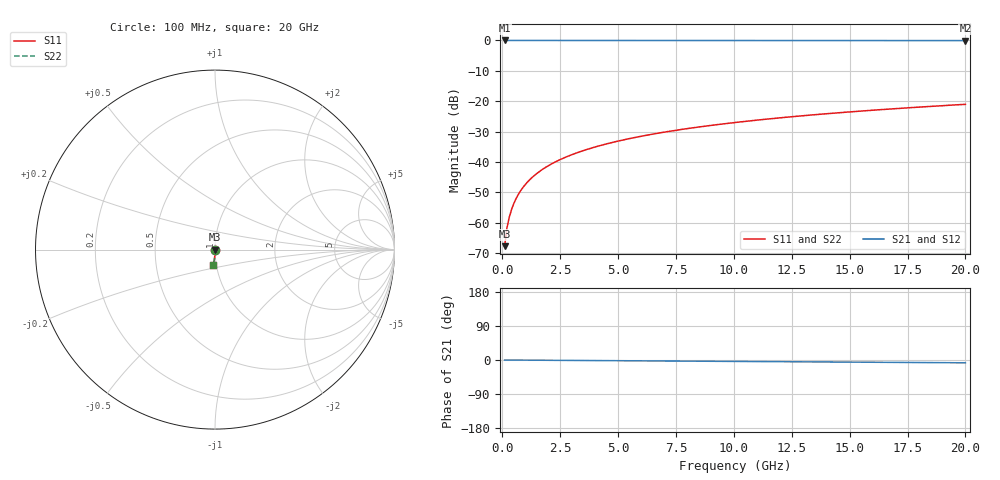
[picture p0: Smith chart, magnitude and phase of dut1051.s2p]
! Touchstone file exported from HFSS 2026.1.0
!  File:  C:/ffzhzh/LocalFiles/Ansys_Project_Files/temp_train_TSV_1051_1783189495_18472.aedt
!  Generated:  02:26:04 AM Jul  5, 2026
!  Design:  TSV
!  Project:  temp_train_TSV_1051_1783189495_18472
! Variables:
!  h_bsmrdl = 2um
!  h_ox = 20um
!  h_rdl = 5um
!  h_sub = 56.63um
!  h_tmrdl = 5um
!  h_tsv = 56.63um
!  h_via = 3um
!  l_bsmrdl = 300um
!  l_sub = 424.96um
!  l_tmrdl = 200um
!  m_sub = 200um
!  pitch = 29.1um
!  r_tsv = 12.48um
!  s_tmrdl = 10um
!  w_bsmrdl = 18um
!  w_sub = 500um
!  w_tmrdl = 12um
!  x_tsv_center1 = 206um
!  x_tsv_center2 = 524um
!  x_tsv_center3 = 736um
!  x_tsv_center4 = 1054um
!  x_tsv_center5 = 1266um
!  x_tsv_center6 = 1584um
# GHz S MA R 50.000000
! Terminal data exported
! Port[1] = TSV1_1_T1
! Port[2] = TSV1_1_T2
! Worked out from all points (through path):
!   200 points, 100 MHz to 20 GHz, reference 50 ohm
!   highest |S21| = 0.00 dB at 100 MHz (marker M1); lowest = 0.0 dB at 20 GHz (marker M2)
!   group delay of S21, straight-line fit = 1.03 ps
!   lowest |S11| = -67.8 dB at 100 MHz (marker M3), VSWR 1.00, Z = 50 - j0.0399 ohm
!   |S11| at or under -10 dB: start of sweep to end of sweep
!   |S22| runs from -67.8 to -21.0 dB; largest |S21 - S12| = 3.2e-14
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0.1  0.0004083 -77.9  0.9999 -0.0  0.9999 -0.0  0.0004083 -77.9
! Gamma 0 0 0 0
! Port Impedance 50 0 50 0
0.2  0.0008096 -82.9  0.9999 -0.1  0.9999 -0.1  0.0008096 -82.9
0.3  0.001221 -84.3  0.9999 -0.1  0.9999 -0.1  0.001221 -84.3
0.4  0.001642 -84.9  0.9998 -0.2  0.9998 -0.2  0.001642 -84.9
0.5  0.00207 -85.3  0.9998 -0.2  0.9998 -0.2  0.00207 -85.3
0.7  0.00294 -85.9  0.9998 -0.3  0.9998 -0.3  0.00294 -85.9
0.8  0.00338 -86.2  0.9998 -0.3  0.9998 -0.3  0.00338 -86.2
1  0.004263 -86.7  0.9997 -0.4  0.9997 -0.4  0.004263 -86.7
1.2  0.005148 -87.1  0.9997 -0.5  0.9997 -0.5  0.005148 -87.1
1.4  0.006033 -87.5  0.9997 -0.5  0.9997 -0.5  0.006033 -87.5
1.7  0.007361 -88.0  0.9996 -0.6  0.9996 -0.6  0.007361 -88.0
2  0.008687 -88.3  0.9996 -0.8  0.9996 -0.8  0.008687 -88.3
2.7  0.01178 -89.0  0.9995 -1.0  0.9995 -1.0  0.01178 -89.0
3.5  0.01532 -89.6  0.9994 -1.3  0.9994 -1.3  0.01532 -89.6
4.2  0.01843 -90.0  0.9993 -1.6  0.9993 -1.6  0.01843 -90.0
5  0.02198 -90.4  0.9992 -1.9  0.9992 -1.9  0.02198 -90.4
6.8  0.03 -91.3  0.9989 -2.5  0.9989 -2.5  0.03 -91.3
8.3  0.03668 -91.9  0.9986 -3.1  0.9986 -3.1  0.03668 -91.9
10.1  0.04471 -92.7  0.9982 -3.8  0.9982 -3.8  0.04471 -92.7
13.4  0.05939 -94.1  0.9973 -5.0  0.9973 -5.0  0.05939 -94.1
16.7  0.07404 -95.4  0.9962 -6.2  0.9962 -6.2  0.07404 -95.4
20  0.08864 -96.6  0.9949 -7.4  0.9949 -7.4  0.08864 -96.6
